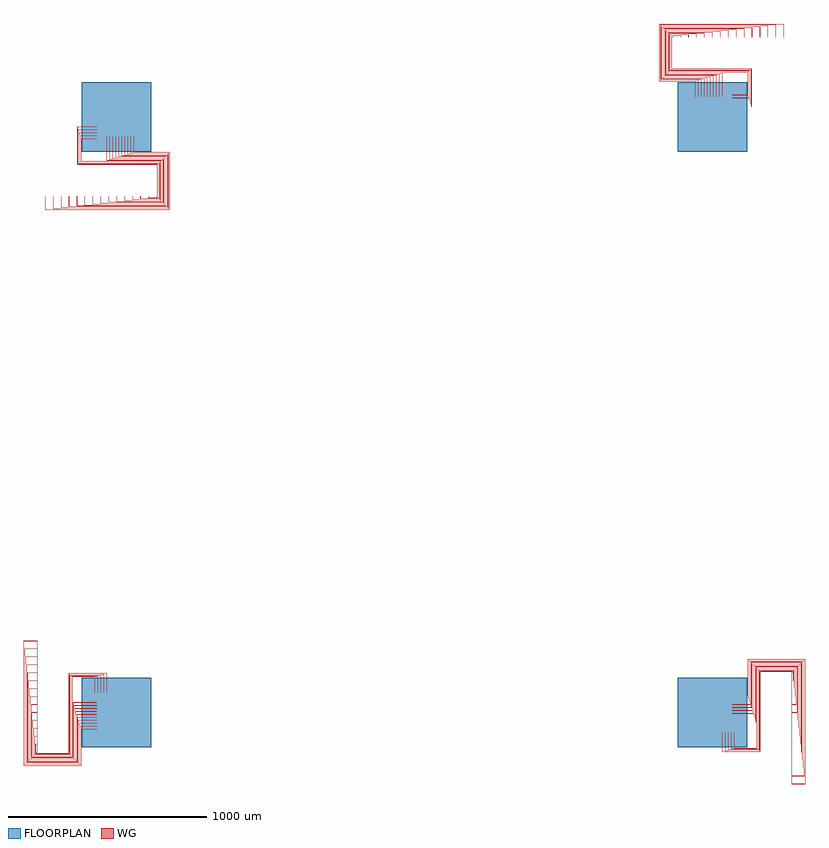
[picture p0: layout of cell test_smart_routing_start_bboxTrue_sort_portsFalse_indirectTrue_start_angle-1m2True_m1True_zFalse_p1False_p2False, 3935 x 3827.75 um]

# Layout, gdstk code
import gdstk
lib = gdstk.Library(unit=1e-6, precision=1e-09)
def R(c, l, rs):  # rectangles x0, y0, x1, y1
    for r in rs: c.add(gdstk.rectangle(r[:2], r[2:], *l))
def P(c, l, *ps):  # polygons
    for p in ps: c.add(gdstk.Polygon(p, *l))
WG = (1, 0)
FLOORPLAN = (10, 0)

test_smart_routing_start = lib.new_cell('test_smart_routing_start_bboxTrue_sort_portsFalse_indirectTrue_start_angle-1m2True_m1True_zFalse_p1False_p2False')
P(test_smart_routing_start, WG, [(-404.5,-204.75),(-404.5,-199.75),(-400,-199.75),(-400,-200.25),(-404,-200.25),(-404,-204.25),(-242.5,-204.25),(-242.5,197.5),(-49.75,197.5),(-49.75,100),(-50.25,100),(-50.25,197),(-242,197),(-242,-204.75)],
  [(-409,-209.25),(-409,-159.75),(-400,-159.75),(-400,-160.25),(-408.5,-160.25),(-408.5,-208.75),(-238,-208.75),(-238,193),(-64.75,193),(-64.75,100),(-65.25,100),(-65.25,192.5),(-237.5,192.5),(-237.5,-209.25)],
  [(-413.5,-213.75),(-413.5,-119.75),(-400,-119.75),(-400,-120.25),(-413,-120.25),(-413,-213.25),(-233.5,-213.25),(-233.5,188.5),(-79.75,188.5),(-79.75,100),(-80.25,100),(-80.25,188),(-233,188),(-233,-213.75)],
  [(-418,-218.25),(-418,-79.75),(-400,-79.75),(-400,-80.25),(-417.5,-80.25),(-417.5,-217.75),(-229,-217.75),(-229,184),(-94.75,184),(-94.75,100),(-95.25,100),(-95.25,183.5),(-228.5,183.5),(-228.5,-218.25)],
  [(-422.5,-222.75),(-422.5,-39.75),(-400,-39.75),(-400,-40.25),(-422,-40.25),(-422,-222.25),(-224.5,-222.25),(-224.5,179.5),(-109.75,179.5),(-109.75,100),(-110.25,100),(-110.25,179),(-224,179),(-224,-222.75)],
  [(-427,-227.25),(-427,0.25),(-400,0.25),(-400,-0.25),(-426.5,-0.25),(-426.5,-226.75),(-220,-226.75),(-220,50.25),(-100,50.25),(-100,49.75),(-219.5,49.75),(-219.5,-227.25)],
  [(-431.5,-231.75),(-431.5,40.25),(-400,40.25),(-400,39.75),(-431,39.75),(-431,-231.25),(-215.5,-231.25),(-215.5,35.25),(-100,35.25),(-100,34.75),(-215,34.75),(-215,-231.75)],
  [(-436,-236.25),(-436,80.25),(-400,80.25),(-400,79.75),(-435.5,79.75),(-435.5,-235.75),(-211,-235.75),(-211,20.25),(-100,20.25),(-100,19.75),(-210.5,19.75),(-210.5,-236.25)],
  [(-440.5,-240.75),(-440.5,120.25),(-400,120.25),(-400,119.75),(-440,119.75),(-440,-240.25),(-206.5,-240.25),(-206.5,5.25),(-100,5.25),(-100,4.75),(-206,4.75),(-206,-240.75)],
  [(-445,-245.25),(-445,160.25),(-400,160.25),(-400,159.75),(-444.5,159.75),(-444.5,-244.75),(-202,-244.75),(-202,-9.75),(-100,-9.75),(-100,-10.25),(-201.5,-10.25),(-201.5,-245.25)],
  [(-449.5,-249.75),(-449.5,200.25),(-400,200.25),(-400,199.75),(-449,199.75),(-449,-249.25),(-197.5,-249.25),(-197.5,-24.75),(-100,-24.75),(-100,-25.25),(-197,-25.25),(-197,-249.75)],
  [(-454,-254.25),(-454,240.25),(-400,240.25),(-400,239.75),(-453.5,239.75),(-453.5,-253.75),(-193,-253.75),(-193,-39.75),(-100,-39.75),(-100,-40.25),(-192.5,-40.25),(-192.5,-254.25)],
  [(-458.5,-258.75),(-458.5,280.25),(-400,280.25),(-400,279.75),(-458,279.75),(-458,-258.25),(-188.5,-258.25),(-188.5,-54.75),(-100,-54.75),(-100,-55.25),(-188,-55.25),(-188,-258.75)],
  [(-463,-263.25),(-463,320.25),(-400,320.25),(-400,319.75),(-462.5,319.75),(-462.5,-262.75),(-184,-262.75),(-184,-69.75),(-100,-69.75),(-100,-70.25),(-183.5,-70.25),(-183.5,-263.25)],
  [(-467.5,-267.75),(-467.5,360.25),(-400,360.25),(-400,359.75),(-467,359.75),(-467,-267.25),(-179.5,-267.25),(-179.5,-84.75),(-100,-84.75),(-100,-85.25),(-179,-85.25),(-179,-267.75)],
  [(199.75,2595.5),(199.75,2600),(200.25,2600),(200.25,2596),(204.25,2596),(204.25,2757.5),(-197.5,2757.5),(-197.5,2950.25),(-100,2950.25),(-100,2949.75),(-197,2949.75),(-197,2758),(204.75,2758),(204.75,2595.5)],
  [(159.75,2591),(159.75,2600),(160.25,2600),(160.25,2591.5),(208.75,2591.5),(208.75,2762),(-193,2762),(-193,2935.25),(-100,2935.25),(-100,2934.75),(-192.5,2934.75),(-192.5,2762.5),(209.25,2762.5),(209.25,2591)],
  [(119.75,2586.5),(119.75,2600),(120.25,2600),(120.25,2587),(213.25,2587),(213.25,2766.5),(-188.5,2766.5),(-188.5,2920.25),(-100,2920.25),(-100,2919.75),(-188,2919.75),(-188,2767),(213.75,2767),(213.75,2586.5)],
  [(79.75,2582),(79.75,2600),(80.25,2600),(80.25,2582.5),(217.75,2582.5),(217.75,2771),(-184,2771),(-184,2905.25),(-100,2905.25),(-100,2904.75),(-183.5,2904.75),(-183.5,2771.5),(218.25,2771.5),(218.25,2582)],
  [(39.75,2577.5),(39.75,2600),(40.25,2600),(40.25,2578),(222.25,2578),(222.25,2775.5),(-179.5,2775.5),(-179.5,2890.25),(-100,2890.25),(-100,2889.75),(-179,2889.75),(-179,2776),(222.75,2776),(222.75,2577.5)],
  [(-0.25,2573),(-0.25,2600),(0.25,2600),(0.25,2573.5),(226.75,2573.5),(226.75,2780),(-50.25,2780),(-50.25,2900),(-49.75,2900),(-49.75,2780.5),(227.25,2780.5),(227.25,2573)],
  [(-40.25,2568.5),(-40.25,2600),(-39.75,2600),(-39.75,2569),(231.25,2569),(231.25,2784.5),(-35.25,2784.5),(-35.25,2900),(-34.75,2900),(-34.75,2785),(231.75,2785),(231.75,2568.5)],
  [(-80.25,2564),(-80.25,2600),(-79.75,2600),(-79.75,2564.5),(235.75,2564.5),(235.75,2789),(-20.25,2789),(-20.25,2900),(-19.75,2900),(-19.75,2789.5),(236.25,2789.5),(236.25,2564)],
  [(-120.25,2559.5),(-120.25,2600),(-119.75,2600),(-119.75,2560),(240.25,2560),(240.25,2793.5),(-5.25,2793.5),(-5.25,2900),(-4.75,2900),(-4.75,2794),(240.75,2794),(240.75,2559.5)],
  [(-160.25,2555),(-160.25,2600),(-159.75,2600),(-159.75,2555.5),(244.75,2555.5),(244.75,2798),(9.75,2798),(9.75,2900),(10.25,2900),(10.25,2798.5),(245.25,2798.5),(245.25,2555)],
  [(-200.25,2550.5),(-200.25,2600),(-199.75,2600),(-199.75,2551),(249.25,2551),(249.25,2802.5),(24.75,2802.5),(24.75,2900),(25.25,2900),(25.25,2803),(249.75,2803),(249.75,2550.5)],
  [(-240.25,2546),(-240.25,2600),(-239.75,2600),(-239.75,2546.5),(253.75,2546.5),(253.75,2807),(39.75,2807),(39.75,2900),(40.25,2900),(40.25,2807.5),(254.25,2807.5),(254.25,2546)],
  [(-280.25,2541.5),(-280.25,2600),(-279.75,2600),(-279.75,2542),(258.25,2542),(258.25,2811.5),(54.75,2811.5),(54.75,2900),(55.25,2900),(55.25,2812),(258.75,2812),(258.75,2541.5)],
  [(-320.25,2537),(-320.25,2600),(-319.75,2600),(-319.75,2537.5),(262.75,2537.5),(262.75,2816),(69.75,2816),(69.75,2900),(70.25,2900),(70.25,2816.5),(263.25,2816.5),(263.25,2537)],
  [(-360.25,2532.5),(-360.25,2600),(-359.75,2600),(-359.75,2533),(267.25,2533),(267.25,2820.5),(84.75,2820.5),(84.75,2900),(85.25,2900),(85.25,2821),(267.75,2821),(267.75,2532.5)],
  [(3049.75,-197.5),(3049.75,-100),(3050.25,-100),(3050.25,-197),(3242,-197),(3242,204.75),(3404.5,204.75),(3404.5,199.75),(3400,199.75),(3400,200.25),(3404,200.25),(3404,204.25),(3242.5,204.25),(3242.5,-197.5)],
  [(3064.75,-193),(3064.75,-100),(3065.25,-100),(3065.25,-192.5),(3237.5,-192.5),(3237.5,209.25),(3409,209.25),(3409,159.75),(3400,159.75),(3400,160.25),(3408.5,160.25),(3408.5,208.75),(3238,208.75),(3238,-193)],
  [(3079.75,-188.5),(3079.75,-100),(3080.25,-100),(3080.25,-188),(3233,-188),(3233,213.75),(3413.5,213.75),(3413.5,119.75),(3400,119.75),(3400,120.25),(3413,120.25),(3413,213.25),(3233.5,213.25),(3233.5,-188.5)],
  [(3094.75,-184),(3094.75,-100),(3095.25,-100),(3095.25,-183.5),(3228.5,-183.5),(3228.5,218.25),(3418,218.25),(3418,79.75),(3400,79.75),(3400,80.25),(3417.5,80.25),(3417.5,217.75),(3229,217.75),(3229,-184)],
  [(3109.75,-179.5),(3109.75,-100),(3110.25,-100),(3110.25,-179),(3224,-179),(3224,222.75),(3422.5,222.75),(3422.5,39.75),(3400,39.75),(3400,40.25),(3422,40.25),(3422,222.25),(3224.5,222.25),(3224.5,-179.5)],
  [(3100,-50.25),(3100,-49.75),(3219.5,-49.75),(3219.5,227.25),(3427,227.25),(3427,-0.25),(3400,-0.25),(3400,0.25),(3426.5,0.25),(3426.5,226.75),(3220,226.75),(3220,-50.25)],
  [(3400,-40.25),(3400,-39.75),(3431,-39.75),(3431,231.25),(3215.5,231.25),(3215.5,-35.25),(3100,-35.25),(3100,-34.75),(3215,-34.75),(3215,231.75),(3431.5,231.75),(3431.5,-40.25)],
  [(3400,-80.25),(3400,-79.75),(3435.5,-79.75),(3435.5,235.75),(3211,235.75),(3211,-20.25),(3100,-20.25),(3100,-19.75),(3210.5,-19.75),(3210.5,236.25),(3436,236.25),(3436,-80.25)],
  [(3400,-120.25),(3400,-119.75),(3440,-119.75),(3440,240.25),(3206.5,240.25),(3206.5,-5.25),(3100,-5.25),(3100,-4.75),(3206,-4.75),(3206,240.75),(3440.5,240.75),(3440.5,-120.25)],
  [(3400,-160.25),(3400,-159.75),(3444.5,-159.75),(3444.5,244.75),(3202,244.75),(3202,9.75),(3100,9.75),(3100,10.25),(3201.5,10.25),(3201.5,245.25),(3445,245.25),(3445,-160.25)],
  [(3400,-200.25),(3400,-199.75),(3449,-199.75),(3449,249.25),(3197.5,249.25),(3197.5,24.75),(3100,24.75),(3100,25.25),(3197,25.25),(3197,249.75),(3449.5,249.75),(3449.5,-200.25)],
  [(3400,-240.25),(3400,-239.75),(3453.5,-239.75),(3453.5,253.75),(3193,253.75),(3193,39.75),(3100,39.75),(3100,40.25),(3192.5,40.25),(3192.5,254.25),(3454,254.25),(3454,-240.25)],
  [(3400,-280.25),(3400,-279.75),(3458,-279.75),(3458,258.25),(3188.5,258.25),(3188.5,54.75),(3100,54.75),(3100,55.25),(3188,55.25),(3188,258.75),(3458.5,258.75),(3458.5,-280.25)],
  [(3400,-320.25),(3400,-319.75),(3462.5,-319.75),(3462.5,262.75),(3184,262.75),(3184,69.75),(3100,69.75),(3100,70.25),(3183.5,70.25),(3183.5,263.25),(3463,263.25),(3463,-320.25)],
  [(3400,-360.25),(3400,-359.75),(3467,-359.75),(3467,267.25),(3179.5,267.25),(3179.5,84.75),(3100,84.75),(3100,85.25),(3179,85.25),(3179,267.75),(3467.5,267.75),(3467.5,-360.25)],
  [(3100,3049.75),(3100,3050.25),(3197,3050.25),(3197,3242),(2795.25,3242),(2795.25,3404.5),(2800.25,3404.5),(2800.25,3400),(2799.75,3400),(2799.75,3404),(2795.75,3404),(2795.75,3242.5),(3197.5,3242.5),(3197.5,3049.75)],
  [(3100,3064.75),(3100,3065.25),(3192.5,3065.25),(3192.5,3237.5),(2790.75,3237.5),(2790.75,3409),(2840.25,3409),(2840.25,3400),(2839.75,3400),(2839.75,3408.5),(2791.25,3408.5),(2791.25,3238),(3193,3238),(3193,3064.75)],
  [(3100,3079.75),(3100,3080.25),(3188,3080.25),(3188,3233),(2786.25,3233),(2786.25,3413.5),(2880.25,3413.5),(2880.25,3400),(2879.75,3400),(2879.75,3413),(2786.75,3413),(2786.75,3233.5),(3188.5,3233.5),(3188.5,3079.75)],
  [(3100,3094.75),(3100,3095.25),(3183.5,3095.25),(3183.5,3228.5),(2781.75,3228.5),(2781.75,3418),(2920.25,3418),(2920.25,3400),(2919.75,3400),(2919.75,3417.5),(2782.25,3417.5),(2782.25,3229),(3184,3229),(3184,3094.75)],
  [(3100,3109.75),(3100,3110.25),(3179,3110.25),(3179,3224),(2777.25,3224),(2777.25,3422.5),(2960.25,3422.5),(2960.25,3400),(2959.75,3400),(2959.75,3422),(2777.75,3422),(2777.75,3224.5),(3179.5,3224.5),(3179.5,3109.75)],
  [(3049.75,3100),(3049.75,3219.5),(2772.75,3219.5),(2772.75,3427),(3000.25,3427),(3000.25,3400),(2999.75,3400),(2999.75,3426.5),(2773.25,3426.5),(2773.25,3220),(3050.25,3220),(3050.25,3100)],
  [(3034.75,3100),(3034.75,3215),(2768.25,3215),(2768.25,3431.5),(3040.25,3431.5),(3040.25,3400),(3039.75,3400),(3039.75,3431),(2768.75,3431),(2768.75,3215.5),(3035.25,3215.5),(3035.25,3100)],
  [(3019.75,3100),(3019.75,3210.5),(2763.75,3210.5),(2763.75,3436),(3080.25,3436),(3080.25,3400),(3079.75,3400),(3079.75,3435.5),(2764.25,3435.5),(2764.25,3211),(3020.25,3211),(3020.25,3100)],
  [(3004.75,3100),(3004.75,3206),(2759.25,3206),(2759.25,3440.5),(3120.25,3440.5),(3120.25,3400),(3119.75,3400),(3119.75,3440),(2759.75,3440),(2759.75,3206.5),(3005.25,3206.5),(3005.25,3100)],
  [(2989.75,3100),(2989.75,3201.5),(2754.75,3201.5),(2754.75,3445),(3160.25,3445),(3160.25,3400),(3159.75,3400),(3159.75,3444.5),(2755.25,3444.5),(2755.25,3202),(2990.25,3202),(2990.25,3100)],
  [(2974.75,3100),(2974.75,3197),(2750.25,3197),(2750.25,3449.5),(3200.25,3449.5),(3200.25,3400),(3199.75,3400),(3199.75,3449),(2750.75,3449),(2750.75,3197.5),(2975.25,3197.5),(2975.25,3100)],
  [(2959.75,3100),(2959.75,3192.5),(2745.75,3192.5),(2745.75,3454),(3240.25,3454),(3240.25,3400),(3239.75,3400),(3239.75,3453.5),(2746.25,3453.5),(2746.25,3193),(2960.25,3193),(2960.25,3100)],
  [(2944.75,3100),(2944.75,3188),(2741.25,3188),(2741.25,3458.5),(3280.25,3458.5),(3280.25,3400),(3279.75,3400),(3279.75,3458),(2741.75,3458),(2741.75,3188.5),(2945.25,3188.5),(2945.25,3100)],
  [(2929.75,3100),(2929.75,3183.5),(2736.75,3183.5),(2736.75,3463),(3320.25,3463),(3320.25,3400),(3319.75,3400),(3319.75,3462.5),(2737.25,3462.5),(2737.25,3184),(2930.25,3184),(2930.25,3100)],
  [(2914.75,3100),(2914.75,3179),(2732.25,3179),(2732.25,3467.5),(3360.25,3467.5),(3360.25,3400),(3359.75,3400),(3359.75,3467),(2732.75,3467),(2732.75,3179.5),(2915.25,3179.5),(2915.25,3100)])
R(test_smart_routing_start, FLOORPLAN, [(-175,-175,175,175), (2825,-175,3175,175), (-175,2825,175,3175), (2825,2825,3175,3175)])
P(test_smart_routing_start, FLOORPLAN, [(-400,-200),(-400,360),(-400,360),(-400,-200)],
  [(-360,2600),(-360,2600),(200,2600),(200,2600)],
  [(3400,-360),(3400,200),(3400,200),(3400,-360)],
  [(2800,3400),(2800,3400),(3360,3400),(3360,3400)])

lib.write_gds('test_smart_routing_start_bboxTrue_sort_portsFalse_indirectTrue_start_angle-1m2True_m1True_zFalse_p1False_p2False.gds')
